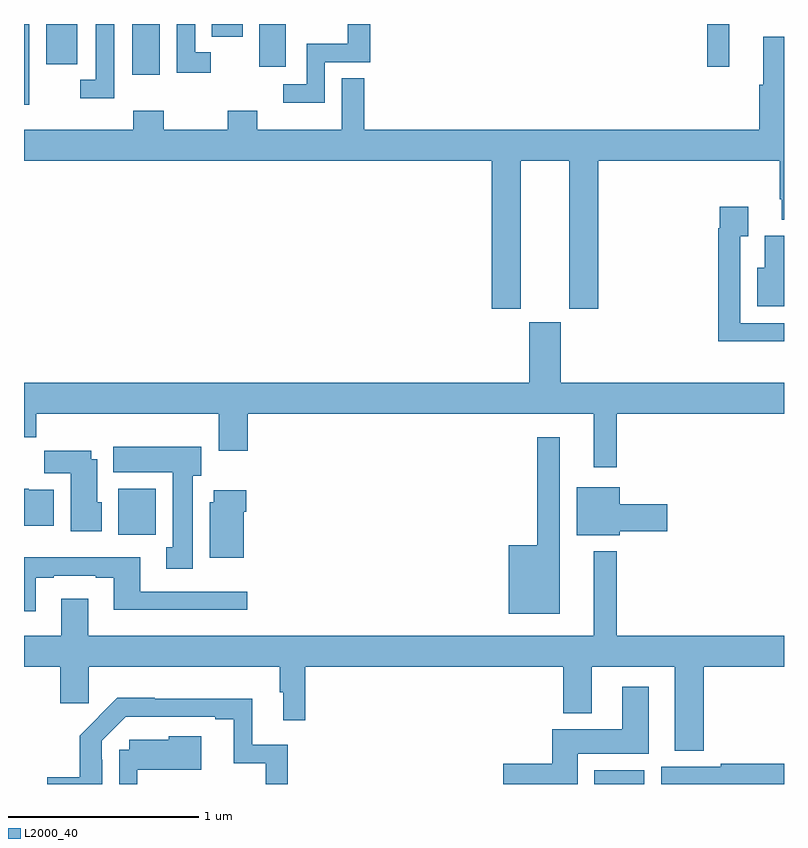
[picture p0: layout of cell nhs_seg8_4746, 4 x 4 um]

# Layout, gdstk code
import gdstk
lib = gdstk.Library(unit=1e-6, precision=1e-09)
def R(c, l, rs):  # rectangles x0, y0, x1, y1
    for r in rs: c.add(gdstk.rectangle(r[:2], r[2:], *l))
def P(c, l, *ps):  # polygons
    for p in ps: c.add(gdstk.Polygon(p, *l))
L2000_40 = (2000, 40)

nhs_seg8_4746 = lib.new_cell('nhs_seg8_4746')
R(nhs_seg8_4746, L2000_40, [(402.002,1099.9,402.265,1099.972), (399.497,1101.212,399.694,1101.454), (399,1103.475,399.028,1103.9), (399.569,1103.634,399.715,1103.9), (400.238,1103.676,400.378,1103.9), (402.595,1103.676,402.713,1103.9), (399.116,1103.688,399.28,1103.9), (399.989,1103.832,400.15,1103.9)])
P(nhs_seg8_4746, L2000_40, [(400.584,1103.7),(400.822,1103.7),(400.822,1103.9),(400.703,1103.9),(400.703,1103.796),(400.488,1103.796),(400.488,1103.583),(400.365,1103.583),(400.365,1103.486),(400.584,1103.486)],
  [(399.982,1103.751),(399.9,1103.751),(399.9,1103.9),(399.804,1103.9),(399.804,1103.643),(399.982,1103.643)],
  [(399.474,1103.9),(399.378,1103.9),(399.378,1103.607),(399.297,1103.607),(399.297,1103.51),(399.474,1103.51)],
  [(401.614,1103.18),(401.87,1103.18),(401.87,1102.401),(402.023,1102.401),(402.023,1103.18),(402.977,1103.18),(402.977,1102.978),(402.989,1102.978),(402.989,1102.871),(403,1102.871),(403,1103.833),(402.89,1103.833),(402.89,1103.58),(402.871,1103.58),(402.871,1103.344),(400.792,1103.344),(400.792,1103.615),(400.673,1103.615),(400.673,1103.344),(400.227,1103.344),(400.227,1103.443),(400.072,1103.443),(400.072,1103.344),(399.735,1103.344),(399.735,1103.443),(399.575,1103.443),(399.575,1103.344),(399,1103.344),(399,1103.18),(401.462,1103.18),(401.462,1102.401),(401.614,1102.401)],
  [(402.947,1102.23),(403,1102.23),(403,1102.326),(402.771,1102.326),(402.771,1102.783),(402.811,1102.783),(402.811,1102.939),(402.663,1102.939),(402.663,1102.826),(402.655,1102.826),(402.655,1102.229),(402.947,1102.229)],
  [(403,1102.786),(402.899,1102.786),(402.899,1102.618),(402.86,1102.618),(402.86,1102.415),(403,1102.415)],
  [(402.121,1101.848),(403,1101.848),(403,1102.012),(401.824,1102.012),(401.824,1102.329),(401.66,1102.329),(401.66,1102.012),(399,1102.012),(399,1101.724),(399.065,1101.724),(399.065,1101.848),(400.025,1101.848),(400.025,1101.654),(400.178,1101.654),(400.178,1101.848),(401.999,1101.848),(401.999,1101.567),(402.121,1101.567)],
  [(401.821,1101.724),(401.7,1101.724),(401.7,1101.157),(401.552,1101.157),(401.552,1100.795),(401.821,1100.795)],
  [(399.889,1101.522),(399.934,1101.522),(399.934,1101.676),(399.47,1101.676),(399.47,1101.542),(399.782,1101.542),(399.782,1101.146),(399.749,1101.146),(399.749,1101.033),(399.889,1101.033)],
  [(399.409,1101.384),(399.385,1101.384),(399.385,1101.61),(399.355,1101.61),(399.355,1101.655),(399.106,1101.655),(399.106,1101.536),(399.245,1101.536),(399.245,1101.23),(399.409,1101.23)],
  [(402.136,1101.23),(402.385,1101.23),(402.385,1101.372),(402.136,1101.372),(402.136,1101.463),(401.909,1101.463),(401.909,1101.209),(402.136,1101.209)],
  [(399.157,1101.448),(399.024,1101.448),(399.024,1101.454),(399,1101.454),(399,1101.26),(399.157,1101.26)],
  [(400.156,1101.332),(400.169,1101.332),(400.169,1101.445),(399.998,1101.445),(399.998,1101.384),(399.977,1101.384),(399.977,1101.092),(400.156,1101.092)],
  [(402.578,1100.516),(403,1100.516),(403,1100.68),(402.121,1100.68),(402.121,1101.124),(401.999,1101.124),(401.999,1100.68),(399.337,1100.68),(399.337,1100.875),(399.197,1100.875),(399.197,1100.68),(399,1100.68),(399,1100.516),(399.191,1100.516),(399.191,1100.325),(399.341,1100.325),(399.341,1100.516),(400.345,1100.516),(400.345,1100.384),(400.364,1100.384),(400.364,1100.235),(400.481,1100.235),(400.481,1100.516),(401.837,1100.516),(401.837,1100.273),(401.989,1100.273),(401.989,1100.516),(402.425,1100.516),(402.425,1100.075),(402.578,1100.075)],
  [(399.061,1100.985),(399.157,1100.985),(399.157,1100.997),(399.377,1100.997),(399.377,1100.985),(399.473,1100.985),(399.473,1100.816),(400.174,1100.816),(400.174,1100.913),(399.613,1100.913),(399.613,1101.094),(399,1101.094),(399,1100.808),(399.061,1100.808)],
  [(401.914,1100.06),(402.289,1100.06),(402.289,1100.413),(402.149,1100.413),(402.149,1100.188),(401.78,1100.188),(401.78,1100.006),(401.523,1100.006),(401.523,1099.9),(401.914,1099.9)],
  [(399.411,1100.027),(399.408,1100.027),(399.408,1100.127),(399.536,1100.255),(399.637,1100.255),(399.637,1100.253),(400.007,1100.253),(400.007,1100.241),(400.103,1100.241),(400.103,1100.01),(400.272,1100.01),(400.272,1099.9),(400.388,1099.9),(400.388,1100.106),(400.201,1100.106),(400.201,1100.35),(399.689,1100.35),(399.689,1100.353),(399.49,1100.353),(399.293,1100.155),(399.293,1099.936),(399.122,1099.936),(399.122,1099.9),(399.411,1099.9)],
  [(399.597,1099.976),(399.934,1099.976),(399.934,1100.152),(399.762,1100.152),(399.762,1100.134),(399.555,1100.134),(399.555,1100.079),(399.501,1100.079),(399.501,1099.9),(399.597,1099.9)],
  [(403,1100.006),(402.666,1100.006),(402.666,1099.99),(402.353,1099.99),(402.353,1099.9),(403,1099.9)])

lib.write_gds('nhs_seg8_4746.gds')
